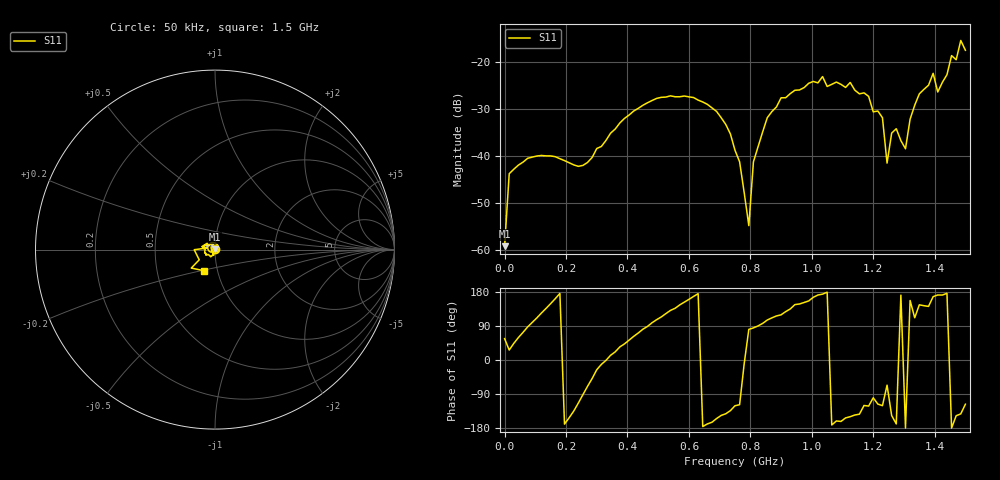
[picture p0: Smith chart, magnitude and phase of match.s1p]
! Created with skrf 1.8.0 (http://scikit-rf.org).
# Hz S RI R 50.0
!freq ReS11 ImS11
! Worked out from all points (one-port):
!   101 points, 50 kHz to 1.5 GHz, reference 50 ohm
!   lowest |S11| = -59.1 dB at 50 kHz (marker M1), VSWR 1.00, Z = 50.1 + j0.0925 ohm
!   |S11| at or under -10 dB: start of sweep to end of sweep
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50000  0.000615 0.000924
1.50495e7  0.00582 0.00288
9.0047e7  -0.00156 0.00962
1.950435e8  -0.00879 -0.00167
2.70041e8  0.00302 -0.00801
3.750375e8  0.0185 0.0127
5.70031e8  -0.0349 0.0242
6.90027e8  -0.0268 -0.0128
7.50025e8  -0.00588 -0.00989
7.650245e8  -0.00407 -0.00768
7.950235e8  0.000294 0.00181
8.10023e8  0.000793 0.00865
8.550215e8  -0.00677 0.0245
9.450185e8  -0.0414 0.0277
1.035016e9  -0.0691 0.00753
1.125012e9  -0.0519 -0.0304
1.230009e9  -0.013 -0.0219
1.245008e9  0.00337 -0.00772
1.260008e9  -0.0146 -0.00965
1.275008e9  -0.0191 -0.00382
1.305006e9  -0.0119 -7.7e-05
1.320006e9  -0.0226 0.00955
1.395004e9  -0.0733 0.0166
1.410003e9  -0.0472 0.00699
1.455002e9  -0.1159 -0.000724
1.470001e9  -0.0879 -0.0569
1.485e9  -0.1323 -0.1029
1.5e9  -0.0593 -0.118
